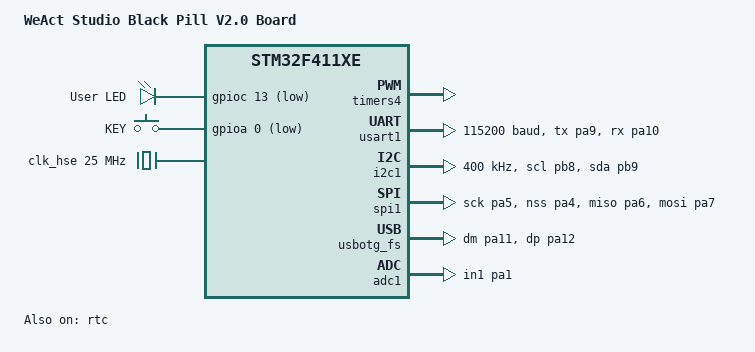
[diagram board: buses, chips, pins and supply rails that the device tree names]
/*
 * Copyright (c) 2020 Brian Bradley <brian.bradley.p@gmail.com>
 * Copyright (c) 2021 Kalyan Sriram <coder.kalyan@gmail.com>
 *
 * SPDX-License-Identifier: Apache-2.0
 */

/dts-v1/;
#include <st/f4/stm32f411Xe.dtsi>
#include <st/f4/stm32f411c(c-e)ux-pinctrl.dtsi>

/ {
	model = "WeAct Studio Black Pill V2.0 Board";
	compatible = "weact,blackpill-f411ce";

	chosen {
		zephyr,console = &usart1;
		zephyr,shell-uart = &usart1;
		zephyr,sram = &sram0;
		zephyr,flash = &flash0;
	};

	leds {
		compatible = "gpio-leds";
		user_led: led {
			gpios = <&gpioc 13 GPIO_ACTIVE_LOW>;
			label = "User LED";
		};
	};

	gpio_keys {
		compatible = "gpio-keys";
		user_button: button {
			label = "KEY";
			gpios = <&gpioa 0 (GPIO_ACTIVE_LOW | GPIO_PULL_UP)>;
		};
	};

	aliases {
		led0 = &user_led;
		sw0 = &user_button;
	};
};

&flash0 {

	partitions {
		compatible = "fixed-partitions";
		#address-cells = <1>;
		#size-cells = <1>;

		boot_partition: partition@0 {
			label = "mcuboot";
			reg = <0x00000000 DT_SIZE_K(32)>;
			read-only;
		};

		/*
		 * The flash starting at offset 0x00008000 and ending at
		 * offset 0x0001ffff (sectors 2 through 4) is reserved for
		 * use by the application.
		 */

		slot0_partition: partition@20000 {
			label = "image-0";
			reg = <0x00020000 DT_SIZE_K(128)>;
		};
		slot1_partition: partition@40000 {
			label = "image-1";
			reg = <0x00040000 DT_SIZE_K(128)>;
		};
		scratch_partition: partition@60000 {
			label = "image-scratch";
			reg = <0x00060000 DT_SIZE_K(128)>;
		};
	};
};

&timers4 {
	status = "okay";

	pwm4: pwm {
		status = "okay";
		pinctrl-0 = <&tim4_ch1_pb6 &tim4_ch2_pb7>;
		pinctrl-names = "default";
	};
};

&usart1 {
	pinctrl-0 = <&usart1_tx_pa9 &usart1_rx_pa10>;
	pinctrl-names = "default";
	status = "okay";
	current-speed = <115200>;
};

&i2c1 {
	pinctrl-0 = <&i2c1_scl_pb8 &i2c1_sda_pb9>;
	pinctrl-names = "default";
	status = "okay";
	clock-frequency = <I2C_BITRATE_FAST>;
};

&spi1 {
	pinctrl-0 = <&spi1_sck_pa5 &spi1_nss_pa4
		     &spi1_miso_pa6 &spi1_mosi_pa7>;
	pinctrl-names = "default";
	status = "okay";
};

&rtc {
	status = "okay";
};

zephyr_udc0: &usbotg_fs {
	pinctrl-0 = <&usb_otg_fs_dm_pa11 &usb_otg_fs_dp_pa12>;
	pinctrl-names = "default";
	status = "okay";
};

&adc1 {
	pinctrl-0 = <&adc1_in1_pa1>;
	pinctrl-names = "default";
	status = "okay";
};

&clk_hse {
	clock-frequency = <DT_FREQ_M(25)>;
	status = "okay";
};

&pll {
	div-m = <25>;
	mul-n = <192>;
	div-p = <2>;
	div-q = <4>;
	clocks = <&clk_hse>;
	status = "okay";
};

&rcc {
	clocks = <&pll>;
	clock-frequency = <DT_FREQ_M(96)>;
	ahb-prescaler = <1>;
	apb1-prescaler = <2>;
	apb2-prescaler = <1>;
};
